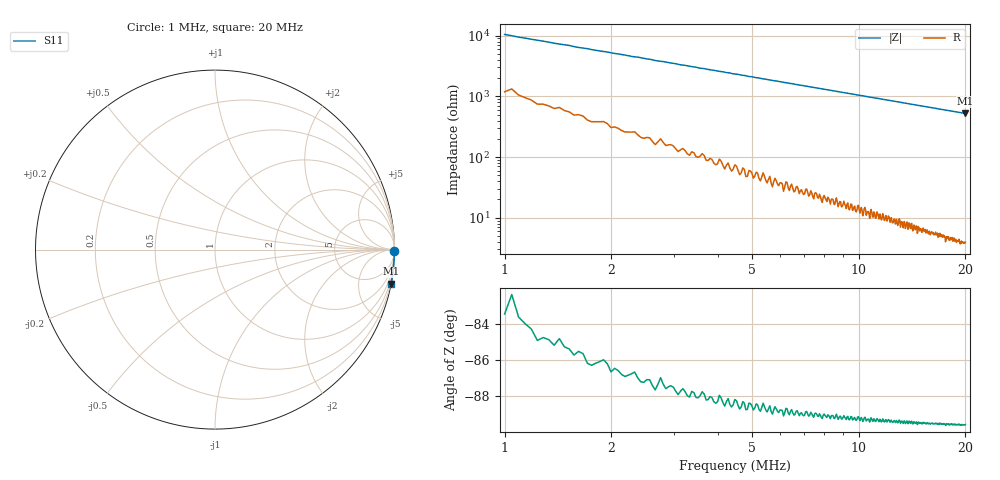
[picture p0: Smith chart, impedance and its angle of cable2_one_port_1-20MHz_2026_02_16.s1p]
# HZ S RI R 50
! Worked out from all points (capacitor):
!   401 points, 1 MHz to 20 MHz, reference 50 ohm
!   read as one part to ground: C = 15.3 pF near 1.095 MHz
!   lowest |Z| = 523 ohm at 20 MHz (marker M1)
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1000000  0.9989 -0.00948
1095000  0.9988 -0.0105
1712500  0.9988 -0.0163
3375000  0.9982 -0.0323
4705000  0.9977 -0.0448
5750000  0.9973 -0.055
6890000  0.9966 -0.0656
7697500  0.9962 -0.0734
7887500  0.9961 -0.0752
8125000  0.9959 -0.0775
9122500  0.995 -0.0867
9692500  0.9944 -0.0924
1.05e7  0.9939 -0.0999
1.07375e7  0.9937 -0.1023
1.0975e7  0.9934 -0.1045
1.14975e7  0.9926 -0.1093
1.2875e7  0.9913 -0.1224
1.4015e7  0.9899 -0.1332
1.4205e7  0.9897 -0.135
1.4585e7  0.989 -0.1384
1.525e7  0.9881 -0.1448
1.582e7  0.9873 -0.1502
1.73875e7  0.9849 -0.1651
1.7625e7  0.9846 -0.1673
1.82425e7  0.9835 -0.1731
1.9335e7  0.9818 -0.1832
1.9905e7  0.9807 -0.1885
2e7  0.9804 -0.1893
